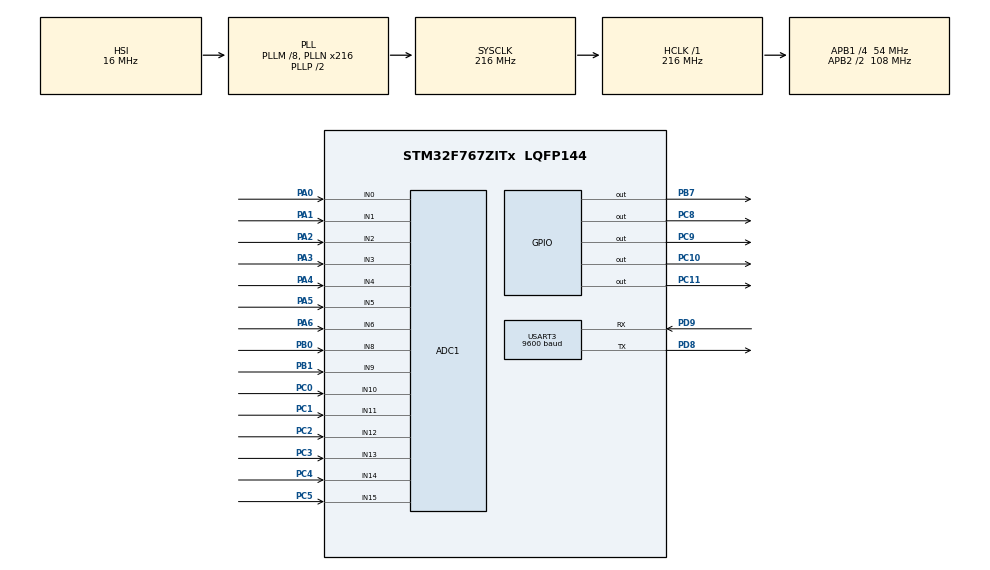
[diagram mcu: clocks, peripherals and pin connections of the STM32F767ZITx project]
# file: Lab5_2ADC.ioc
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ADC1.Channel-0\#ChannelRegularConversion=ADC_CHANNEL_0
ADC1.Channel-1\#ChannelRegularConversion=ADC_CHANNEL_1
ADC1.Channel-10\#ChannelRegularConversion=ADC_CHANNEL_11
ADC1.Channel-11\#ChannelRegularConversion=ADC_CHANNEL_12
ADC1.Channel-12\#ChannelRegularConversion=ADC_CHANNEL_13
ADC1.Channel-13\#ChannelRegularConversion=ADC_CHANNEL_14
ADC1.Channel-14\#ChannelRegularConversion=ADC_CHANNEL_15
ADC1.Channel-2\#ChannelRegularConversion=ADC_CHANNEL_2
ADC1.Channel-3\#ChannelRegularConversion=ADC_CHANNEL_3
ADC1.Channel-4\#ChannelRegularConversion=ADC_CHANNEL_4
ADC1.Channel-5\#ChannelRegularConversion=ADC_CHANNEL_5
ADC1.Channel-6\#ChannelRegularConversion=ADC_CHANNEL_6
ADC1.Channel-7\#ChannelRegularConversion=ADC_CHANNEL_8
ADC1.Channel-8\#ChannelRegularConversion=ADC_CHANNEL_9
ADC1.Channel-9\#ChannelRegularConversion=ADC_CHANNEL_10
ADC1.ClockPrescaler=ADC_CLOCK_SYNC_PCLK_DIV4
ADC1.ContinuousConvMode=ENABLE
ADC1.DMAContinuousRequests=ENABLE
ADC1.DataAlign=ADC_DATAALIGN_LEFT
ADC1.EOCSelection=ADC_EOC_SEQ_CONV
ADC1.NbrOfConversion=15
ADC1.NbrOfConversionFlag=1
ADC1.Rank-0\#ChannelRegularConversion=1
ADC1.Rank-1\#ChannelRegularConversion=2
ADC1.Rank-10\#ChannelRegularConversion=11
ADC1.Rank-11\#ChannelRegularConversion=12
ADC1.Rank-12\#ChannelRegularConversion=13
ADC1.Rank-13\#ChannelRegularConversion=14
ADC1.Rank-14\#ChannelRegularConversion=15
ADC1.Rank-2\#ChannelRegularConversion=3
ADC1.Rank-3\#ChannelRegularConversion=4
ADC1.Rank-4\#ChannelRegularConversion=5
ADC1.Rank-5\#ChannelRegularConversion=6
ADC1.Rank-6\#ChannelRegularConversion=7
ADC1.Rank-7\#ChannelRegularConversion=8
ADC1.Rank-8\#ChannelRegularConversion=9
ADC1.Rank-9\#ChannelRegularConversion=10
ADC1.SamplingTime-0\#ChannelRegularConversion=ADC_SAMPLETIME_3CYCLES
ADC1.SamplingTime-1\#ChannelRegularConversion=ADC_SAMPLETIME_3CYCLES
ADC1.SamplingTime-10\#ChannelRegularConversion=ADC_SAMPLETIME_3CYCLES
ADC1.SamplingTime-11\#ChannelRegularConversion=ADC_SAMPLETIME_3CYCLES
ADC1.SamplingTime-12\#ChannelRegularConversion=ADC_SAMPLETIME_3CYCLES
ADC1.SamplingTime-13\#ChannelRegularConversion=ADC_SAMPLETIME_3CYCLES
ADC1.SamplingTime-14\#ChannelRegularConversion=ADC_SAMPLETIME_3CYCLES
ADC1.SamplingTime-2\#ChannelRegularConversion=ADC_SAMPLETIME_3CYCLES
ADC1.SamplingTime-3\#ChannelRegularConversion=ADC_SAMPLETIME_3CYCLES
ADC1.SamplingTime-4\#ChannelRegularConversion=ADC_SAMPLETIME_3CYCLES
ADC1.SamplingTime-5\#ChannelRegularConversion=ADC_SAMPLETIME_3CYCLES
ADC1.SamplingTime-6\#ChannelRegularConversion=ADC_SAMPLETIME_3CYCLES
ADC1.SamplingTime-7\#ChannelRegularConversion=ADC_SAMPLETIME_3CYCLES
ADC1.SamplingTime-8\#ChannelRegularConversion=ADC_SAMPLETIME_3CYCLES
ADC1.SamplingTime-9\#ChannelRegularConversion=ADC_SAMPLETIME_3CYCLES
ADC1.ScanConvMode=ADC_SCAN_ENABLE
ADC1.master=1
Dma.ADC1.0.Direction=DMA_PERIPH_TO_MEMORY
Dma.ADC1.0.FIFOMode=DMA_FIFOMODE_DISABLE
Dma.ADC1.0.Instance=DMA2_Stream0
Dma.ADC1.0.MemDataAlignment=DMA_MDATAALIGN_WORD
Dma.ADC1.0.MemInc=DMA_MINC_ENABLE
Dma.ADC1.0.Mode=DMA_CIRCULAR
Dma.ADC1.0.PeriphDataAlignment=DMA_PDATAALIGN_WORD
Dma.ADC1.0.PeriphInc=DMA_PINC_DISABLE
Dma.ADC1.0.Priority=DMA_PRIORITY_LOW
Dma.Request0=ADC1
Mcu.Family=STM32F7
Mcu.Name=STM32F767ZITx
Mcu.Package=LQFP144
NVIC.ADC_IRQn=true\:0\:0\:false\:false\:true\:true\:true
NVIC.DMA2_Stream0_IRQn=true\:1\:0\:true\:false\:true\:false\:true
NVIC.PriorityGroup=NVIC_PRIORITYGROUP_2
PA0/WKUP.Signal=ADCx_IN0
PA1.Signal=ADCx_IN1
PA2.Signal=ADCx_IN2
PA3.Signal=ADCx_IN3
PA4.Signal=ADCx_IN4
PA5.Signal=ADCx_IN5
PA6.Signal=ADCx_IN6
PB0.Signal=ADCx_IN8
PB1.Signal=ADCx_IN9
PB7.Signal=GPIO_Output
PC0.Signal=ADCx_IN10
PC1.Signal=ADCx_IN11
PC10.Signal=GPIO_Output
PC11.Signal=GPIO_Output
PC2.Signal=ADCx_IN12
PC3.Signal=ADCx_IN13
PC4.Signal=ADCx_IN14
PC5.Signal=ADCx_IN15
PC8.Signal=GPIO_Output
PC9.Signal=GPIO_Output
PD8.Mode=Asynchronous
PD8.Signal=USART3_TX
PD9.Mode=Asynchronous
PD9.Signal=USART3_RX
ProjectManager.HeapSize=0x200
ProjectManager.StackSize=0x400
ProjectManager.TargetToolchain=MDK-ARM V5
RCC.AHBFreq_Value=216000000
RCC.APB1CLKDivider=RCC_HCLK_DIV4
RCC.APB1Freq_Value=54000000
RCC.APB1TimFreq_Value=108000000
RCC.APB2CLKDivider=RCC_HCLK_DIV2
RCC.APB2Freq_Value=108000000
RCC.APB2TimFreq_Value=216000000
RCC.CortexFreq_Value=216000000
RCC.HCLKFreq_Value=216000000
RCC.HSE_VALUE=25000000
RCC.HSI_VALUE=16000000
RCC.LSE_VALUE=32768
RCC.PLLM=8
RCC.PLLN=216
RCC.SYSCLKFreq_VALUE=216000000
RCC.SYSCLKSource=RCC_SYSCLKSOURCE_PLLCLK
RCC.USBFreq_Value=216000000
RCC.VCOOutputFreq_Value=432000000
SH.ADCx_IN0.0=ADC1_IN0,IN0
SH.ADCx_IN1.0=ADC1_IN1,IN1
SH.ADCx_IN10.0=ADC1_IN10,IN10
SH.ADCx_IN11.0=ADC1_IN11,IN11
SH.ADCx_IN12.0=ADC1_IN12,IN12
SH.ADCx_IN13.0=ADC1_IN13,IN13
SH.ADCx_IN14.0=ADC1_IN14,IN14
SH.ADCx_IN15.0=ADC1_IN15,IN15
SH.ADCx_IN2.0=ADC1_IN2,IN2
SH.ADCx_IN3.0=ADC1_IN3,IN3
SH.ADCx_IN4.0=ADC1_IN4,IN4
SH.ADCx_IN5.0=ADC1_IN5,IN5
SH.ADCx_IN6.0=ADC1_IN6,IN6
SH.ADCx_IN8.0=ADC1_IN8,IN8
SH.ADCx_IN9.0=ADC1_IN9,IN9
USART3.BaudRate=9600
USART3.VirtualMode-Asynchronous=VM_ASYNC
board=custom

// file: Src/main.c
/* USER CODE BEGIN Header */
/**
  ******************************************************************************
  * @file           : main.c
  * @brief          : Main program body
  ******************************************************************************
  * @attention
  *
  * <h2><center>&copy; Copyright (c) 2019 STMicroelectronics.
  * All rights reserved.</center></h2>
  *
  * This software component is licensed by ST under BSD 3-Clause license,
  * the "License"; You may not use this file except in compliance with the
  * License. You may obtain a copy of the License at:
  *                        opensource.org/licenses/BSD-3-Clause
  *
  ******************************************************************************
  */
/* USER CODE END Header */

#include "main.h"
#include "adc.h"
#include "dma.h"
#include "usart.h"
#include "gpio.h"

/* USER CODE BEGIN Includes */
#include "stdio.h"
/* USER CODE END Includes */

/* USER CODE BEGIN PV */
uint32_t adc_val[15], buffer[15];
int readPin[2][4]={{0, 5, 6, 7},{8, 9, 11, 12}};
/* USER CODE END PV */

void SystemClock_Config(void);

/* USER CODE BEGIN 0 */
void displayHEX(uint32_t);
void displayPin(uint32_t);
void displayNewline();
void HAL_ADC_ConvHalfCpltCallback(ADC_HandleTypeDef* hadc)
{
	HAL_GPIO_WritePin(GPIOB, GPIO_PIN_7,1);
	char ch1[12] = "---Half---\n\r";
	HAL_Delay(1000);
	while(__HAL_UART_GET_FLAG(&huart3,UART_FLAG_TC)==RESET){}
		HAL_UART_Transmit(&huart3, (uint8_t*) &ch1, 12,1000);

}
void HAL_ADC_ConvCpltCallback(ADC_HandleTypeDef* hadc)
{
	HAL_GPIO_WritePin(GPIOB, GPIO_PIN_7,0);
	char ch1[12] = "---Comp---\n\r";
	while(__HAL_UART_GET_FLAG(&huart3,UART_FLAG_TC)==RESET){}
		HAL_UART_Transmit(&huart3, (uint8_t*) &ch1, 12,1000);
	while(__HAL_UART_GET_FLAG(&huart3,UART_FLAG_TC)==RESET){}
		HAL_UART_Transmit(&huart3, (uint8_t*) &ch1, 2,1000);
	HAL_Delay(1000);
	for (int i =0; i<15; i++)
	{
	  adc_val[i] = buffer[i];
	}
	for(int i =0; i <2;i++){
			for(int j =0; j <4;j++){
				displayPin(readPin[i][j] >= 7 ? readPin[i][j]+1: readPin[i][j]);
				displayHEX(adc_val[readPin[i][j]]);
			}
			displayNewline();
	}
}
/* USER CODE END 0 */

int main(void)
{

  /* MCU Configuration--------------------------------------------------------*/

  /* Reset of all peripherals, Initializes the Flash interface and the Systick. */
  HAL_Init();

  /* Configure the system clock */
  SystemClock_Config();

  /* Initialize all configured peripherals */
  MX_GPIO_Init();
  MX_DMA_Init();
  MX_ADC1_Init();
  MX_USART3_UART_Init();
  /* USER CODE BEGIN 2 */
	HAL_GPIO_WritePin(GPIOB, GPIO_PIN_7, 0);
	HAL_ADC_Start_DMA(&hadc1, buffer, 15);
	/*char mapString[15][50] = {"",
														"",
														"",
														"",
														"",
														"",
														"",
														"",
														"",
														"",
														"",
														"",
														"",
														"",
														""};*/
  /* USER CODE END 2 */

  /* Infinite loop */
  while (1)
  {

    /* USER CODE BEGIN 3 */
		//for(int i =0; i <2;i++){
		//	for(int j =0; j <4;j++){
		//		displayPin(readPin[i][j] >= 7 ? readPin[i][j]+1: readPin[i][j]);
		//		displayHEX(adc_val[readPin[i][j]]);
		//	}
		//	displayNewline();
		//}

	}
  /* USER CODE END 3 */
}

void SystemClock_Config(void)
{
  RCC_OscInitTypeDef RCC_OscInitStruct = {0};
  RCC_ClkInitTypeDef RCC_ClkInitStruct = {0};
  RCC_PeriphCLKInitTypeDef PeriphClkInitStruct = {0};

  /** Configure the main internal regulator output voltage
  */
  __HAL_RCC_PWR_CLK_ENABLE();
  __HAL_PWR_VOLTAGESCALING_CONFIG(PWR_REGULATOR_VOLTAGE_SCALE1);
  /** Initializes the CPU, AHB and APB busses clocks
  */
  RCC_OscInitStruct.OscillatorType = RCC_OSCILLATORTYPE_HSI;
  RCC_OscInitStruct.HSIState = RCC_HSI_ON;
  RCC_OscInitStruct.HSICalibrationValue = RCC_HSICALIBRATION_DEFAULT;
  RCC_OscInitStruct.PLL.PLLState = RCC_PLL_ON;
  RCC_OscInitStruct.PLL.PLLSource = RCC_PLLSOURCE_HSI;
  RCC_OscInitStruct.PLL.PLLM = 8;
  RCC_OscInitStruct.PLL.PLLN = 216;
  RCC_OscInitStruct.PLL.PLLP = RCC_PLLP_DIV2;
  RCC_OscInitStruct.PLL.PLLQ = 2;
  if (HAL_RCC_OscConfig(&RCC_OscInitStruct) != HAL_OK)
  {
    Error_Handler();
  }
  /** Activate the Over-Drive mode
  */
  if (HAL_PWREx_EnableOverDrive() != HAL_OK)
  {
    Error_Handler();
  }
  /** Initializes the CPU, AHB and APB busses clocks
  */
  RCC_ClkInitStruct.ClockType = RCC_CLOCKTYPE_HCLK|RCC_CLOCKTYPE_SYSCLK
                              |RCC_CLOCKTYPE_PCLK1|RCC_CLOCKTYPE_PCLK2;
  RCC_ClkInitStruct.SYSCLKSource = RCC_SYSCLKSOURCE_PLLCLK;
  RCC_ClkInitStruct.AHBCLKDivider = RCC_SYSCLK_DIV1;
  RCC_ClkInitStruct.APB1CLKDivider = RCC_HCLK_DIV4;
  RCC_ClkInitStruct.APB2CLKDivider = RCC_HCLK_DIV2;

  if (HAL_RCC_ClockConfig(&RCC_ClkInitStruct, FLASH_LATENCY_7) != HAL_OK)
  {
    Error_Handler();
  }
  PeriphClkInitStruct.PeriphClockSelection = RCC_PERIPHCLK_USART3;
  PeriphClkInitStruct.Usart3ClockSelection = RCC_USART3CLKSOURCE_PCLK1;
  if (HAL_RCCEx_PeriphCLKConfig(&PeriphClkInitStruct) != HAL_OK)
  {
    Error_Handler();
  }
}

/* USER CODE BEGIN 4 */
void displayHEX(uint32_t hex){
	char buffer [50];
	sprintf(buffer, "%8.8x, ", hex);
	while(__HAL_UART_GET_FLAG(&huart3,UART_FLAG_TC)==RESET){}
		HAL_UART_Transmit(&huart3, (uint8_t*) &buffer, 10,1000);
	//HAL_Delay(300);
}
void displayPin(uint32_t pin){
	char buffer [50];
	sprintf(buffer, "%2d :", pin);
	while(__HAL_UART_GET_FLAG(&huart3,UART_FLAG_TC)==RESET){}
		HAL_UART_Transmit(&huart3, (uint8_t*) &buffer, 4,1000);
	//char ch1[2] = "\n\r";
	//while(__HAL_UART_GET_FLAG(&huart3,UART_FLAG_TC)==RESET){}
	//HAL_UART_Transmit(&huart3, (uint8_t*) &ch1, 2,1000);
	//HAL_Delay(300);
}
void displayNewline(){
	char ch1[2] = "\n\r";
	while(__HAL_UART_GET_FLAG(&huart3,UART_FLAG_TC)==RESET){}
		HAL_UART_Transmit(&huart3, (uint8_t*) &ch1, 2,1000);
	HAL_Delay(1000);
}
/* USER CODE END 4 */

void Error_Handler(void)
{
}

/************************ (C) COPYRIGHT STMicroelectronics *****END OF FILE****/
